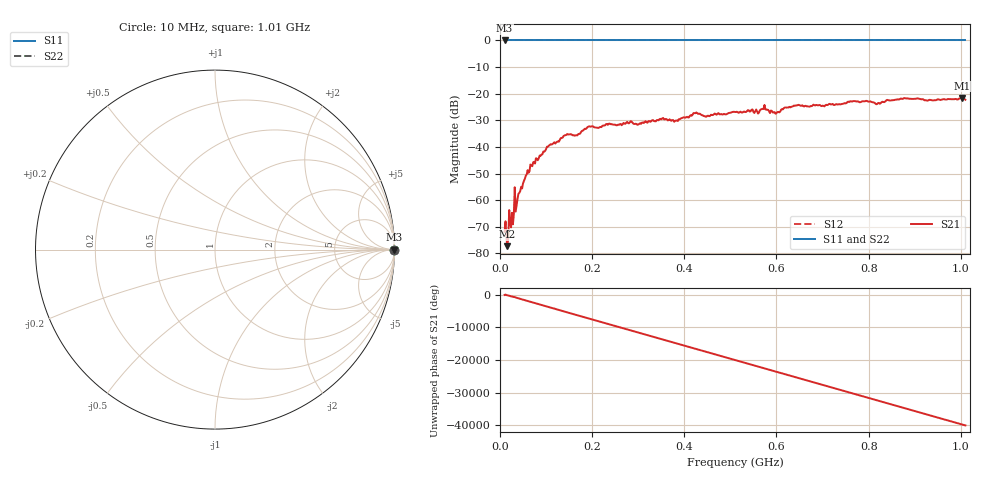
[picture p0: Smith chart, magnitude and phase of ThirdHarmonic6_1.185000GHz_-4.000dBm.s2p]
! 8/16/2025 12:07:46 PM
! C:\ANRITSUVNA\TEMP\TEMP.S2P
! CHANNEL.1
! TR.MEASUREMENT
! RAW.DATA
! RF.CORRECTION.OFF
! AVERAGING.OFF
! IF.BANDWIDTH: 5KHZ
! SWEEPTYPE:  FREQ.SWEEP(Linear)
! Reference Plane Port Info
! PORT:  PORT1  PORT2
! DISTANCE:  0  m  0  m
! TIME:  0  s  0  s
! PHASE.OFFSET:  0  deg.  0  deg.
! LOSS:  0  dB  0  dB
! REF.LOSS:  0  dB  0  dB
! REF.FREQ:  0  Hz  0  Hz
! Power Info
! POWER:  -20  dBm  -20  dBm
! EFF.POWER:  -20  dBm  -20  dBm
! SOURCE.ATTEN:  0  dB  0  dB
! TEST.ATTEN:  0  dB  0  dB
# GHZ S RI R 50.0
! FREQ.GHZ  S11RE  S11IM  S21RE  S21IM  S12RE  S12IM  S22RE  S22IM
!; PortSelection: Port_12
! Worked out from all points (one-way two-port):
!   501 points, 10 MHz to 1.01 GHz, reference 50 ohm
!   highest |S21| = -21.58 dB at 1.002 GHz (marker M1); lowest = -77.3 dB at 16 MHz (marker M2)
!   lowest |S11| = 0.0 dB at 10 MHz (marker M3)
!   |S11| at or under -10 dB: nowhere
!   |S22| runs from 0.0 to 0.0 dB; largest |S21 - S12| = 1.1
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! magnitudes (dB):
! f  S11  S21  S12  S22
! 10 MHz  0.0  -71.9  0.0  0.0
! 14 MHz  0.0  -74.3  0.0  0.0
! 16 MHz  0.0  -77.3  0.0  0.0
! 26 MHz  0.0  -64.7  0.0  0.0
! 36 MHz  0.0  -61.8  0.0  0.0
! 38 MHz  0.0  -59.5  0.0  0.0
! 56 MHz  0.0  -50.8  0.0  0.0
! 70 MHz  0.0  -47.2  0.0  0.0
! 106 MHz  0.0  -39.5  0.0  0.0
! 142 MHz  0.0  -35.6  0.0  0.0
! 178 MHz  0.0  -34.0  0.0  0.0
! 196 MHz  0.0  -32.4  0.0  0.0
! 344 MHz  0.0  -30.0  0.0  0.0
! 382 MHz  0.0  -30.1  0.0  0.0
! 510 MHz  0.0  -26.9  0.0  0.0
! 572 MHz  0.0  -25.8  0.0  0.0
! 602 MHz  0.0  -26.9  0.0  0.0
! 642 MHz  0.0  -24.4  0.0  0.0
! 678 MHz  0.0  -24.5  0.0  0.0
! 844 MHz  0.0  -22.5  0.0  0.0
! 1.002 GHz  0.0  -21.6  0.0  0.0
! 1.01 GHz  0.0  -22.3  0.0  0.0
